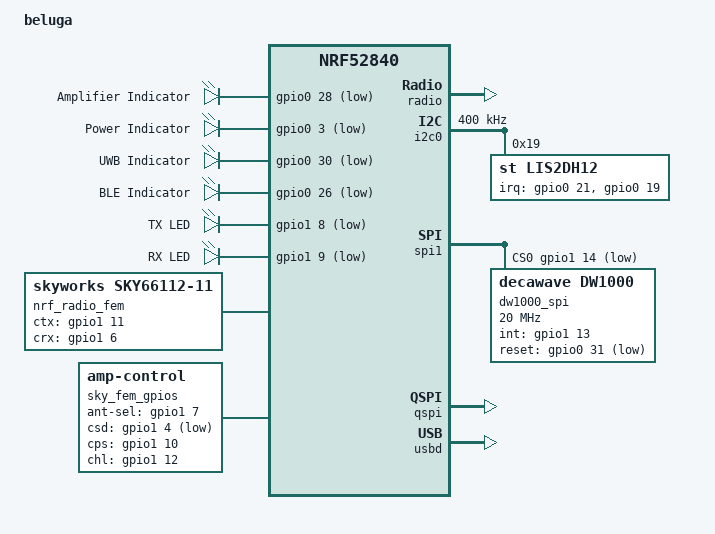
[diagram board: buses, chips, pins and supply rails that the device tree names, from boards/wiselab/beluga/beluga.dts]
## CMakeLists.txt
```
#
# Copyright (c) 2021 Nordic Semiconductor ASA
#
# SPDX-License-Identifier: LicenseRef-Nordic-5-Clause
#
cmake_minimum_required(VERSION 3.20.0)
find_package(Zephyr REQUIRED HINTS $ENV{ZEPHYR_BASE})
project(Beluga)

# NORDIC SDK APP START
file(GLOB SOURCE "src/*.c")
set(SERIAL_SRC
        src/serial/comms.c
        src/serial/comms_uart.c)
set(SERVICE_SRC
        src/ble/services/beluga_service.c
        src/ble/services/beluga_client.c
        src/ble/services/beluga_service_common.c)
set(BLE_SRC
        src/ble/adv.c
        src/ble/scan.c
        src/ble/ble_app.c)
file(GLOB DECAWAVE_SRC "DecaDriver/src/*.c")

include_directories(include DecaDriver/include)

target_sources(app PRIVATE
    ${SOURCE}
    ${SERIAL_SRC}
    ${DECAWAVE_SRC}
    ${SERVICE_SRC}
    ${BLE_SRC}
)
target_sources_ifdef(CONFIG_MCUMGR_TRANSPORT_COMMS app PRIVATE
        src/serial/smp_comms.c
        src/serial/serial_util.c
)
# NORDIC SDK APP END
```

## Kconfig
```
mainmenu "Beluga application"

menu "Beluga Configurations"

rsource "./config/kconfig/Kconfig.beluga_threads"

rsource "./config/kconfig/Kconfig.uwb"

rsource "./config/kconfig/Kconfig.neighbors"

rsource "./config/kconfig/Kconfig.watchdog"

config BELUGA_BOARD_HW_ID
    int "Hardware ID of the Board"
    default 0

choice "BELUGA_LED_INDICATOR_CHOICE"
    prompt "LEDs are used to indicate states for"
    default BELUGA_LEDS

config BELUGA_BLE_LEDS
    bool "BLE states"

config BELUGA_LEDS
    bool "Beluga states"

endchoice

config BELUGA_RANGE_EXTENSION
    bool "Enable range extension for Beluga"
    default n

config BELUGA_USE_ACCEL
    bool "Use the accelerometer to wakeup from deep sleep [EXPERIMENTAL]"
    select SENSOR
    select EXPERIMENTAL
    default n

config UWB_LOGIC_CLK
    bool "UWB ranging exchange IDs"
    default n

config BELUGA_GATT
    bool "Beluga GATT service"
    default n

config STATUS_BLINK_PERIOD
    int "Period that the status LED blinks at in msec"
    default 1000
    range 0 10000
    help
        The period that the status LED blinks at. It
        is recommended that the period is kept to 1000 msec.
        If the period is set to 0, the LED will stay solid.

rsource "./config/kconfig/Kconfig.beluga_debug"

config WDT_MAX_WINDOW
    int "Maximum window of the watchdog timer"
    default 2000

rsource "./config/kconfig/Kconfig.comms"

endmenu # "Beluga Configurations"

source "Kconfig.zephyr"
```

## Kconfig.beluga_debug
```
menu "Beluga Debugging"

comment "You can turn on the Kernel Logging Subsystem from \"Subsystems and OS Services->Logging->Logging\""

rsource "./Kconfig.logging"

config DEBUG_BELUGA_CLOCK
    bool "Debug oscillating crystals"
    default n

config BELUGA_RESET_REASON
    bool "Print the reset reason"
    select HWINFO
    default n

config BELUGA_EVAL_BLE_STRENGTH
    bool "Evaluate the signal strength of BLE regardless if UWB is on or not"
    default n

endmenu
```

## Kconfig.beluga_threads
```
menu "Thread Configurations"
menuconfig ENABLE_BELUGA_THREADS
    bool "Enable threads for Beluga"
    default y

if ENABLE_BELUGA_THREADS

menuconfig ENABLE_COMMANDS
    bool "Enable commands for Beluga"
    default n

if ENABLE_COMMANDS

config BELUGA_COMMANDS_PRIO
    int "Priority for commands thread"
    depends on ENABLE_COMMANDS
    default 8

config COMMANDS_STACK_SIZE
    int "Stack size (bytes) for commands thread"
    depends on ENABLE_COMMANDS
    default 1024
endif

menuconfig ENABLE_LIST
    bool "Enable the list thread for Beluga"
    default n

if ENABLE_LIST
config BELUGA_LIST_PRIO
    int "Priority for list thread"
    depends on ENABLE_LIST
    default 8

config LIST_STACK_SIZE
    int "Stack size (bytes) for list thread"
    depends on ENABLE_LIST
    default 1024
endif

menuconfig ENABLE_RANGING
    bool "Enable the ranging thread for Beluga"
    default n

if ENABLE_RANGING
config BELUGA_RANGING_PRIO
    int "Priority for ranging thread"
    depends on ENABLE_RANGING
    default 8

config RANGING_STACK_SIZE
    int "Stack size (bytes) for ranging thread"
    depends on ENABLE_RANGING
    default 1024
endif

menuconfig ENABLE_MONITOR
    bool "Enable the monitor thread in Beluga"
    default n

if ENABLE_MONITOR
config BELUGA_MONITOR_PRIO
    int "Priority for monitor thread"
    depends on ENABLE_MONITOR
    default 8

config MONITOR_STACK_SIZE
    int "Stack size (bytes) for monitor task"
    depends on ENABLE_MONITOR
    default 1024
endif

menuconfig ENABLE_RESPONDER
    bool "Enable the responder thread in Beluga"
    default n

if ENABLE_RESPONDER
config BELUGA_RESPONDER_PRIO
    int "Priority for responder thread"
    depends on ENABLE_RESPONDER
    default 7

config RESPONDER_STACK_SIZE
    int "Stack size (bytes) for responder task"
    depends on ENABLE_RESPONDER
    default 1024
endif
endif
endmenu
```

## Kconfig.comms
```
menuconfig MCUMGR_TRANSPORT_COMMS
	bool "Comms mcumgr SMP transport"
	depends on BASE64
	depends on CRC
	help
	  Enables handling of SMP commands received over uart.  This allows
	  for user data to be received while mcumgr commands are enabled.

if MCUMGR_TRANSPORT_COMMS

config MCUMGR_TRANSPORT_COMMS_MTU
	int "Shell comms MTU"
	default 256
	help
	  Maximum size of SMP frames sent and received over shell.  This value
	  must satisfy the following relation:
	  MCUMGR_TRANSPORT_SHELL_MTU <= MCUMGR_TRANSPORT_NETBUF_SIZE + 2

config MCUMGR_TRANSPORT_COMMS_RX_BUF_COUNT
	int "Shell SMP RX buffer count"
	default 2
	help
	  Number of buffers used for receiving SMP fragments over shell.

config MCUMGR_TRANSPORT_COMMS_INPUT_TIMEOUT
	bool "Shell input expiration"
	help
	  If enabled, will time out a partial or erroneous MCUmgr command
	  received via the shell transport after a given time. This prevents
	  the shell from becoming locked if it never receives the full packet
	  that a header indicated it would receive.

config MCUMGR_TRANSPORT_COMMS_INPUT_TIMEOUT_TIME
	int "Shell input expiration timeout"
	depends on MCUMGR_TRANSPORT_SHELL_INPUT_TIMEOUT
	default 3000
	help
	  Time (in msec) after receiving a valid MCUmgr header on the serial
	  transport before considering it as timed out and returning the shell
	  to normal operation.

endif # MCUMGR_TRANSPORT_COMMS

menuconfig COMMS_BACKENDS
    bool "Comms backends"
    default y
    help
        Enable comms backends.

if COMMS_BACKENDS

config COMMS_BACKEND_SERIAL
    bool "Serial backend"
    default y
    select SERIAL
    select RING_BUFFER
    help
        Enable serial backend

if COMMS_BACKEND_SERIAL

config COMMS_BACKEND_SERIAL_INIT_PRIORITY
    int "Initialization priority"
    default 90
    range 0 99
    help
        Initialization priority for UART backend. This must be bigger than
    	the initialization priority of the used serial device.

config COMMS_BACKEND_SERIAL_INTERRUPT_DRIVEN
	bool "Interrupt driven"
	default y
	depends on SERIAL_SUPPORT_INTERRUPT

config COMMS_ASYNC_API
	bool "Asynchronous comms API"
	default n
	depends on UART_ASYNC_API
	help
	  This option enables asynchronous comms API.

choice COMMS_BACKEND_SERIAL_API
	prompt "Mode"
	default COMMS_BACKEND_SERIAL_API_ASYNC if COMMS_ASYNC_API
	default COMMS_BACKEND_SERIAL_API_INTERRUPT_DRIVEN if COMMS_BACKEND_SERIAL_INTERRUPT_DRIVEN
	default COMMS_BACKEND_SERIAL_API_POLLING

config COMMS_BACKEND_SERIAL_API_POLLING
	prompt "Polling"

config COMMS_BACKEND_SERIAL_API_INTERRUPT_DRIVEN
	bool "Interrupt driven"
	depends on SERIAL_SUPPORT_INTERRUPT
	select UART_INTERRUPT_DRIVEN


config COMMS_BACKEND_SERIAL_API_ASYNC
	bool "Asynchronous"
	depends on SERIAL_SUPPORT_ASYNC
	select UART_ASYNC_RX_HELPER

endchoice

config COMMS_BACKEND_SERIAL_FORCE_TX_BLOCKING_MODE
	bool "Force blocking mode for TX"
	help
	  Force blocking mode for TX.

config COMMS_BACKEND_SERIAL_TX_RING_BUFFER_SIZE
	int "Set TX ring buffer size"
	default 8
	depends on COMMS_BACKEND_SERIAL_API_INTERRUPT_DRIVEN
	help
	  If UART is utilizing DMA transfers then increasing ring buffer size
	  increases transfers length and reduces number of interrupts.

config COMMS_BACKEND_SERIAL_RX_RING_BUFFER_SIZE
	int "Set RX ring buffer size"
	depends on COMMS_BACKEND_SERIAL_API_INTERRUPT_DRIVEN || COMMS_BACKEND_SERIAL_API_POLLING
	default 256 if MCUMGR_TRANSPORT_COMMS
	default 64
	help
	  RX ring buffer size impacts accepted latency of handling incoming
	  bytes by shell. If shell input is coming from the keyboard then it is
	  usually enough if ring buffer is few bytes (more than one due to
	  escape sequences). However, if bulk data is transferred it may be
	  required to increase it.

if COMMS_BACKEND_SERIAL_API_ASYNC

config COMMS_BACKEND_SERIAL_ASYNC_RX_TIMEOUT
	int "RX inactivity timeout (in microseconds)"
	default 10000
	help
	  Inactivity timeout after which received data is reported.

config COMMS_BACKEND_SERIAL_ASYNC_RX_BUFFER_COUNT
	int "Number of RX buffers"
	default 4
	range 2 64
	help
	  Number of RX buffers. Some UART driver implementations changes buffers
	  on timeout so this number should be big enough to cover handling on
	  time incoming data. 4 should be enough for almost all the cases unless
	  CPU load is high and there is very high shell thread latency.

config COMMS_BACKEND_SERIAL_ASYNC_RX_BUFFER_SIZE
	int "Size of the RX buffer"
	default 16
	help
	  Size of a single RX buffer. Together with buffer count it defines the
	  space that can hold RX data. It may be decreased if shell input is
	  slow and may need to be increased if long messages are pasted directly
	  to the shell prompt.

endif # COMMS_BACKEND_SERIAL_API_ASYNC

config COMMS_BACKEND_SERIAL_RX_POLL_PERIOD
	int "RX polling period (in milliseconds)"
	default 10
	depends on COMMS_BACKEND_SERIAL_API_POLLING
	help
	  Determines how often UART is polled for RX byte.

config COMMS_BACKEND_SERIAL_CHECK_DTR
	bool "Check DTR signal before TX"
	depends on COMMS_BACKEND_SERIAL_API_INTERRUPT_DRIVEN
	depends on UART_LINE_CTRL
	help
	  Check DTR signal before TX.

endif # COMMS_BACKEND_SERIAL

endif # COMMS_BACKENDS

config COMMS_MAX_TOKENS
    int "Maximum argument tokens"
    default 20

config COMMS_RTX_BUF_SIZE
    int "Transmit and Receive Buffer Sizes"
    default 256
```

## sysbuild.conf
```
SB_CONFIG_BOOTLOADER_MCUBOOT=y
SB_CONFIG_MCUBOOT_MODE_SINGLE_APP=n

# External flash
# SB_CONFIG_PM_EXTERNAL_FLASH_MCUBOOT_SECONDARY=y

# Image signing
# SB_CONFIG_BOOT_SIGNATURE_KEY_FILE="\${APP_DIR}/keys/private_key.pem"
# Uncomment based on what key generation algorithm was used:
# ecdsa-p256
# SB_CONFIG_BOOT_SIGNATURE_TYPE_ECDSA_P256=y
# rsa-2048 and rsa-3072
# SB_CONFIG_BOOT_SIGNATURE_TYPE_RSA=y
# ed25519
# SB_CONFIG_BOOT_SIGNATURE_TYPE_ED25519=y
```

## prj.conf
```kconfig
#
# Copyright (c) 2021 Nordic Semiconductor ASA
#
# SPDX-License-Identifier: LicenseRef-Nordic-5-Clause
#

# Bluetooth related stuff
CONFIG_BT=y
CONFIG_BT_PERIPHERAL=y
CONFIG_BT_CENTRAL=y
CONFIG_BT_DEVICE_NAME="Beluga"
CONFIG_BT_DEVICE_NAME_DYNAMIC=y

CONFIG_BT_SCAN=y
CONFIG_BT_SCAN_FILTER_ENABLE=y
CONFIG_BT_SCAN_UUID_CNT=1

CONFIG_BT_EXT_ADV=y
CONFIG_BT_EXT_ADV_MAX_ADV_SET=2

CONFIG_BT_GATT_CLIENT=y
CONFIG_BT_GATT_DM=y

CONFIG_BT_RX_STACK_SIZE=2048

# BLE Work Queues (These should be higher prio or equal to the Beluga stuff)
# GATT discovery
CONFIG_BT_GATT_DM_WORKQ_PRIO=6
# Long running BLE work (If any, will run during the response slot)
CONFIG_BT_LONG_WQ_PRIO=8

# Settings
CONFIG_FLASH=y
CONFIG_FLASH_PAGE_LAYOUT=y
CONFIG_FLASH_MAP=y
CONFIG_NVS=y
CONFIG_SETTINGS=y
CONFIG_SETTINGS_RUNTIME=y

# Memory configs
CONFIG_HEAP_MEM_POOL_SIZE=1024
CONFIG_MAIN_STACK_SIZE=2048
CONFIG_MPSL_WORK_STACK_SIZE=2048

# Peripherals
CONFIG_DK_LIBRARY=y
CONFIG_REBOOT=y
CONFIG_GPIO=y
CONFIG_SPI=y
CONFIG_I2C=y
CONFIG_PM_DEVICE=y
CONFIG_POWEROFF=y

# UART driver
CONFIG_UART_INTERRUPT_DRIVEN=y
CONFIG_SERIAL=y
CONFIG_CONSOLE=n
CONFIG_UART_CONSOLE=n

# Config logger
CONFIG_USE_SEGGER_RTT=n
CONFIG_LOG_BACKEND_UART=n
CONFIG_LOG_MODE_IMMEDIATE=y
CONFIG_LOG_PRINTK=y
CONFIG_BOOT_BANNER=n
CONFIG_NCS_BOOT_BANNER=n

# Floating point support
CONFIG_NEWLIB_LIBC=y
CONFIG_NEWLIB_LIBC_FLOAT_PRINTF=y
CONFIG_NEWLIB_LIBC_NANO=n

# Custom Beluga Settings
CONFIG_BELUGA_LEDS=y
CONFIG_UWB_LOGIC_CLK=y
CONFIG_JSON_LIBRARY=y

# Watchdog timer
CONFIG_WDT_DISABLE_AT_BOOT=n
CONFIG_SW_WDT_CHANNELS=4
CONFIG_SW_WDT_HW_FALLBACK=y
CONFIG_SW_WDT_HW_FALLBACK_DELAY=1000
CONFIG_WDT_TEST_COMMAND=y

# FEM options
CONFIG_CLOCK_CONTROL_NRF_K32SRC_XTAL=y
CONFIG_CLOCK_CONTROL_NRF_K32SRC_50PPM=y

# Debugging
CONFIG_ASSERT=y
CONFIG_CORTEX_M_DEBUG_MONITOR_HOOK=n
CONFIG_DEBUG_THREAD_INFO=n
CONFIG_SEGGER_DEBUGMON=n
CONFIG_BT_HCI_ERR_TO_STR=n
CONFIG_DEBUG_COREDUMP=n
CONFIG_DEBUG_COREDUMP_BACKEND_LOGGING=n

# Beluga specific debugging
CONFIG_BELUGA_RESET_REASON=y

# Scheduler configurations
CONFIG_TIMESLICING=n
CONFIG_SCHED_DUMB=y

CONFIG_LOG=n
CONFIG_BELUGA_DEBUG_LOG_LEVEL_DBG=n
CONFIG_WATCHDOG_MODULE_LOG_LEVEL_DBG=n
CONFIG_RANGING_MODULE_LOG_LEVEL_DBG=n
CONFIG_BELUGA_MAIN_LOG_LEVEL_INF=n
CONFIG_BLE_APP_LOG_LEVEL_DBG=n
CONFIG_BT_GATT_DM_LOG_LEVEL_DBG=n
CONFIG_BT_CONN_LOG_LEVEL_DBG=n
CONFIG_BT_HCI_CORE_LOG_LEVEL_INF=n
CONFIG_LOG_DEFAULT_LEVEL=0

CONFIG_RANGE_TO_ACTIVE_ONLY=y
```

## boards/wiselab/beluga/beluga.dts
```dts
/dts-v1/;
#include <nordic/nrf52840_qiaa.dtsi>
#include "beluga-pinctrl.dtsi"

/ {
	model = "beluga";
	compatible = "WiseLab,beluga";

	chosen {
		zephyr,console = &cdc_acm_uart0;
		zephyr,shell-uart = &cdc_acm_uart0;
		zephyr,uart-mcumgr = &cdc_acm_uart0;
		zephyr,bt-mon-uart = &cdc_acm_uart0;
		zephyr,bt-c2h-uart = &cdc_acm_uart0;
		zephyr,sram = &sram0;
		zephyr,flash = &flash0;
		zephyr,code-partition = &slot0_partition;
	};

	leds {
		compatible = "gpio-leds";
		led0: led_0 {
			gpios = <&gpio0 28 GPIO_ACTIVE_LOW>;
			label = "Amplifier Indicator";
		};
		led1: led_1 {
			gpios = <&gpio0 3 GPIO_ACTIVE_LOW>;
			label = "Power Indicator";
		};
		led2: led_2 {
			gpios = <&gpio0 30 GPIO_ACTIVE_LOW>;
			label = "UWB Indicator";
		};
		led3: led_3 {
			gpios = <&gpio0 26 GPIO_ACTIVE_LOW>;
			label = "BLE Indicator";
		};
	};

	serial_leds {
		compatible = "gpio-leds";
		tx_led: tx_led0 {
			gpios = <&gpio1 8 GPIO_ACTIVE_LOW>;
			label = "TX LED";
		};
		rx_led: rx_led0 {
			gpios = <&gpio1 9 GPIO_ACTIVE_LOW>;
			label = "RX LED";
		};
	};

	aliases {
		led0 = &led0;
		led1 = &led1;
		led2 = &led2;
		led3 = &led3;
		bootloader-led0 = &led0;
		watchdog = &wdt0;
		spi-flash0 = &mx25r64;
	};

	nrf_radio_fem: sky66112-11 {
		compatible = "skyworks,sky66112-11", "generic-fem-two-ctrl-pins";
		ctx-gpios = <&gpio1 11 0>;
		crx-gpios = <&gpio1 6 0>;
		tx-gain-db = <22>;
	};

	sky_fem_gpios: amp_control {
		compatible = "amp-control";
		ant-sel-gpios = <&gpio1 7 0>;
		csd-gpios = <&gpio1 4 GPIO_ACTIVE_LOW>;
		cps-gpios = <&gpio1 10 GPIO_ACTIVE_HIGH>;
		chl-gpios = <&gpio1 12 0>;
	};
};

&radio {
	fem = <&nrf_radio_fem>;
};

&uicr {
	gpio-as-nreset;
};

&gpiote {
	status = "okay";
};

&gpio0 {
	status = "okay";
	gpio-reserved-ranges = <0 2>, <4 7>, <18 1>, <27 1>;
	gpio-line-names = "XL1", "XL2", "SPI1 MISO", "PWR Indicator", "QSPI CS",
					  "QSPI DIO3", "QSPI DIO1", "QSPI DIO0", "QSPI DIO2", "",
					  "", "P0.11", "P0.12", "P0.13", "ACCEL SDO", "P0.15",
					  "ACCEL SDA/SDI", "P0.17", "RESET", "ACCEL INT2", "P0.20",
					  "ACCEL INT1", "P0.22", "ACCEL CLK", "P0.24", "P0.25",
					  "BLE Indicator", "QSPI CLK", "Amplifier Indicator", "SPI1 MOSI",
					  "UWB Indicator", "DW RESET";
};

&gpio1 {
	status = "okay";
	gpio-line-names = "VDD ADJ", "P1.01", "ACCEL CS", "P1.03", "CSD", "P1.05", "CRX",
					  "ANT SEL", "TXLED", "RXLED", "CPS", "CTX", "CHL", "DW IRQ", "DW CS",
					  "SPI1 CLK";
};

&i2c0 {
	compatible = "nordic,nrf-twi";
	status = "okay";
	pinctrl-0 = <&i2c0_default>;
	pinctrl-1 = <&i2c0_sleep>;
	pinctrl-names = "default", "sleep";

	clock-frequency = <I2C_BITRATE_FAST>;
	lis2dh12: lis2dh12@19 {
		compatible = "st,lis2dh12", "st,lis2dh";
		reg = <0x19>;
		irq-gpios = <&gpio0 21 GPIO_ACTIVE_HIGH>,
					<&gpio0 19 GPIO_ACTIVE_HIGH>;
	};
};

&spi1 {
	compatible = "nordic,nrf-spi";
	status = "okay";
	cs-gpios = <&gpio1 14 (GPIO_PULL_UP | GPIO_ACTIVE_LOW)>;
	pinctrl-0 = <&spi1_default>;
	pinctrl-1 = <&spi1_sleep>;
	pinctrl-names = "default", "sleep";
	dw1000_spi: dw1000@0 {
		compatible = "decawave,dw1000";
		spi-max-frequency = <DT_FREQ_M(20)>;
		int-gpios = <&gpio1 13 GPIO_ACTIVE_HIGH>;
		reset-gpios = <&gpio0 31 GPIO_ACTIVE_LOW>;
		status = "okay";
		reg = <0x0>;
	};
};

&qspi {
	status = "okay";
	pinctrl-0 = <&qspi_default>;
	pinctrl-1 = <&qspi_sleep>;
	pinctrl-names = "default", "sleep";
	mx25r64: mx25r6435f@0 {
		status = "disabled";
		compatible = "nordic,qspi-nor";
		reg = <0>;
		/* MX25R64 supports only pp and pp4io */
		writeoc = "pp4io";
		/* MX25R64 supports all readoc options */
		readoc = "read4io";
		sck-frequency = <8000000>;
		jedec-id = [c2 28 17];
		sfdp-bfp = [
						   e5 20 f1 ff  ff ff ff 03  44 eb 08 6b  08 3b 04 bb
						   ee ff ff ff  ff ff 00 ff  ff ff 00 ff  0c 20 0f 52
						   10 d8 00 ff  23 72 f5 00  82 ed 04 cc  44 83 68 44
						   30 b0 30 b0  f7 c4 d5 5c  00 be 29 ff  f0 d0 ff ff
				   ];
		size = <67108864>;
		has-dpd;
		t-enter-dpd = <10000>;
		t-exit-dpd = <35000>;
	};
};

&uart0 {
	compatible = "nordic,nrf-uarte";
	status = "disabled";
	current-speed = <115200>;
	pinctrl-0 = <&uart0_default>;
	pinctrl-1 = <&uart0_sleep>;
	pinctrl-names = "default", "sleep";
};

&flash0 {
	partitions {
		compatible = "fixed-partitions";
		#address-cells = <1>;
		#size-cells = <1>;

		boot_partition: partition@0 {
			label = "mcuboot";
			reg = <0x00000000 DT_SIZE_K(48)>;
		};

		slot0_partition: partition@c000 {
			label = "image-0";
			reg = <0x0000c000 DT_SIZE_K(472)>;
		};

		slot1_partition: partition@82000 {
			label = "image-1";
			reg = <0x00082000 DT_SIZE_K(472)>;
		};

		/*
		 * The flash starting at 0x000f8000 and ending at
		 * 0x000fffff is reserved for use by the application.
		 */

		/*
		 * Storage partition will be used by FCB/LittleFS/NVS
		 * if enabled.
		 */
		storage_partition: partition@f8000 {
			label = "storage";
			reg = <0x000f8000 DT_SIZE_K(32)>;
		};
	};
};

zephyr_udc0: &usbd {
	compatible = "nordic,nrf-usbd";
	status = "okay";

	cdc_acm_uart0: cdc_acm_uart0 {
		compatible = "zephyr,cdc-acm-uart";
	};
};
```

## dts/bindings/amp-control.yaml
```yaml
description: GPIO pin configurations to control the SKY6112-11 FEM

compatible: "amp-control"

properties:
  ant-sel-gpios:
    type: phandle-array
    required: false
    description: |
      The GPIO controlling the antenna select

  csd-gpios:
    type: phandle-array
    required: true
    description: |
      Shuts down the FEM when low

  cps-gpios:
    type: phandle-array
    required: false
    description: |
      Bypass the amplifier and the LNA

  chl-gpios:
    type: phandle-array
    required: false
    description: |
      Transmit high power
```

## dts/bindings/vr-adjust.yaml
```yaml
description: GPIO pin to adjust the voltage regulator output

compatible: "vr-adjust"

properties:
  gpios:
    type: phandle-array
    required: true
    description: |
      The GPIO controlling the output of the voltage regulator.
```

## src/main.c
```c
/**
 * @file main.c
 * @brief Main application
 *
 * @date 6/19/2024
 * @author Tom Schmitz
 */

#include <beluga_message.h>
#include <serial/comms.h>

#include <app_leds.h>
#include <app_version.h>
#include <ble/ble_app.h>
#include <debug.h>
#include <initiator.h>
#include <led_config.h>
#include <list_monitor.h>
#include <list_neighbors.h>
#include <range_extension.h>
#include <ranging.h>
#include <responder.h>
#include <settings.h>
#include <spi.h>
#include <stdio.h>
#include <unistd.h>
#include <utils.h>
#include <voltage_regulator.h>
#include <watchdog.h>
#include <zephyr/kernel.h>
#include <zephyr/logging/log.h>

/**
 * Logger for main
 */
LOG_MODULE_REGISTER(beluga_main, CONFIG_BELUGA_MAIN_LOG_LEVEL);

/**
 * Prints the settings header if not in frame mode
 *
 * @param[in] _comms Pointer to the comms instance
 */
#define SETTINGS_HEADER(_comms)                                                \
    do {                                                                       \
        if ((_comms)->ctx->format != FORMAT_FRAMES) {                          \
            struct beluga_msg msg = {.type = START_EVENT,                      \
                                     .payload.node_version =                   \
                                         "Node On: " APP_VERSION_STRING};      \
            comms_write_msg(_comms, &msg);                                     \
        }                                                                      \
    } while (0)

/**
 * Prints a formatted settings string
 *
 * @param[in] _comms Pointer to the comms instance
 * @param[in] _str The format string
 * @param[in] ... List of parameters to print
 */
#define _SETTINGS_PRINT_FMT(_comms, _str, ...)                                 \
    do {                                                                       \
        struct beluga_msg msg = {.type = START_EVENT};                         \
        char s[256];                                                           \
        snprintf(s, sizeof(s) - 1, "  " _str, __VA_ARGS__);                    \
        msg.payload.node_version = s;                                          \
        comms_write_msg(_comms, &msg);                                         \
    } while (0)

/**
 * Prints a setting
 *
 * @param[in] _comms Pointer to the comms instance
 * @param[in] _str The settings string
 */
#define __SETTINGS_PRINT(_comms, _str)                                         \
    do {                                                                       \
        struct beluga_msg msg = {.type = START_EVENT,                          \
                                 .payload.node_version = ("  " _str)};         \
        comms_write_msg(_comms, &msg);                                         \
    } while (0)

/**
 * Prints a setting
 *
 * @param[in] _comms Pointer to the comms instance
 * @param[in] _str The setting string to print
 * @param[in] ... Optional list of arguments to print
 */
#define _SETTINGS_PRINT(_comms, _str, ...)                                     \
    COND_CODE_1(IS_EMPTY(__VA_ARGS__), (__SETTINGS_PRINT(_comms, _str)),       \
                (_SETTINGS_PRINT_FMT(_comms, _str, __VA_ARGS__)))

/**
 * Prints a setting if not in frame mode
 *
 * @param[in] _comms Pointer to the comms instance
 * @param[in] _str The setting string to print
 * @param[in] ... Optional list of arguments to print
 */
#define SETTINGS_PRINT(_comms, _str, ...)                                      \
    do {                                                                       \
        if ((_comms)->ctx->format != FORMAT_FRAMES) {                          \
            _SETTINGS_PRINT(_comms, _str, __VA_ARGS__);                        \
        }                                                                      \
    } while (0)

/**
 * Print the node version if in framed mode, otherwise, prints a line break
 * if not in framed mode.
 *
 * @param[in] _comms Pointer to the comms instance
 */
#define SETTINGS_BREAK(_comms)                                                 \
    do {                                                                       \
        if ((_comms)->ctx->format == FORMAT_FRAMES) {                          \
            struct beluga_msg msg = {.type = START_EVENT,                      \
                                     .payload.node_version =                   \
                                         APP_VERSION_STRING};                  \
            comms_write_msg(_comms, &msg);                                     \
        } else {                                                               \
            struct beluga_msg msg = {.type = START_EVENT,                      \
                                     .payload.node_version = "\n"};            \
            comms_write_msg(_comms, &msg);                                     \
        }                                                                      \
    } while (0)

/**
 * Runs a custom print setting routine with arguments
 *
 * @param[in] _comms Pointer to the comms instance
 * @param[in] callback The custom print setting routine to run
 * @param[in] ... Argument list
 */
#define _CUSTOM_INIT_MSG_ARGS(_comms, callback, ...)                           \
    callback(_comms, __VA_ARGS__)

/**
 * Runs a custom print setting routine without arguments
 *
 * @param[in] _comms Pointer to the comms instance
 * @param[in] callback The custom print setting routine to run
 */
#define _CUSTOM_INIT_MSG_NOARGS(_comms, callback) callback(_comms)

/**
 * Runs a custom print setting routine
 *
 * @param[in] _comms Pointer to the comms instance
 * @param[in] callback The custom print setting routine to run
 * @param[in] ... Additional arguments for the routine
 */
#define _CUSTOM_INIT_MSG(_comms, callback, ...)                                \
    COND_CODE_1(IS_EMPTY(__VA_ARGS__),                                         \
                (_CUSTOM_INIT_MSG_NOARGS(_comms, callback)),                   \
                (_CUSTOM_INIT_MSG_ARGS(_comms, callback, __VA_ARGS__)))

/**
 * Runs a custom print setting routine if not in framed mode
 *
 * @param[in] _comms Pointer to the comms instance
 * @param[in] callback The custom print setting routine to run
 * @param[in] ... Additional arguments for the routine
 */
#define CUSTOM_INIT_MSG(_comms, callback, ...)                                 \
    do {                                                                       \
        if ((_comms)->ctx->format != FORMAT_FRAMES) {                          \
            _CUSTOM_INIT_MSG(_comms, callback, __VA_ARGS__);                   \
        }                                                                      \
    } while (0)

#if CONFIG_STATUS_BLINK_PERIOD != 0
/**
 * Work handler for blinking the status (Power) LED.
 * @param[in] work Pointer to the work item.
 */
static void blink_status_led(struct k_work *work) {
    struct k_work_delayable *dwork =
        CONTAINER_OF(work, struct k_work_delayable, work);
    static enum led_state state = LED_ON;
    static uint32_t error_blink = 0;
    k_timeout_t schedule_period = K_MSEC(CONFIG_STATUS_BLINK_PERIOD);
    const struct comms *comms = comms_backend_uart_get_ptr();

    if (comms_check_rx_error(comms)) {
        if ((state == LED_ON && error_blink == 0) ||
            (state == LED_OFF && error_blink == 1)) {
            schedule_period = K_MSEC(200);
            error_blink++;
        } else {
            error_blink = 0;
        }
    }

    update_led_state(LED_POWER, state);
    state = (state == LED_ON) ? LED_OFF : LED_ON;

    k_work_schedule(dwork, schedule_period);
}
K_WORK_DELAYABLE_DEFINE(blink_work, blink_status_led);
#endif // CONFIG_STATUS_BLINK_PERIOD != 0

/**
 * Load the LED mode from the settings and display the current state
 */
static void load_led_mode(const struct comms *comms) {
    int32_t led_mode = retrieveSetting(BELUGA_LEDMODE);

    if (led_mode == 1) {
        all_leds_off();
    }
#if CONFIG_STATUS_BLINK_PERIOD != 0
    k_work_schedule(&blink_work, K_NO_WAIT);
#else
    update_led_state(LED_POWER, LED_ON);
#endif // CONFIG_STATUS_BLINK_PERIOD != 0
    SETTINGS_PRINT(comms, "LED Mode: %d", led_mode);
}

/**
 * Load the node ID from settings and display it
 */
static void load_id(const struct comms *comms) {
    int32_t nodeID = retrieveSetting(BELUGA_ID);

    if (nodeID != DEFAULT_ID_SETTING) {
        update_node_id((uint16_t)nodeID);
        set_initiator_id((uint16_t)nodeID);
        set_responder_id((uint16_t)nodeID);
        SETTINGS_PRINT(comms, "Node ID: %d", nodeID);
    } else {
        SETTINGS_PRINT(comms, "!!!!!!!!!!!!!!!!!!!!!!!!!!!!!!!");
        SETTINGS_PRINT(comms, "!Warning! Please setup node ID!");
        SETTINGS_PRINT(comms, "!!!!!!!!!!!!!!!!!!!!!!!!!!!!!!!");
    }
}

/**
 * Load the mode the node should boot in, update the states for the node, and
 * display the boot mode
 */
static void load_bootmode(const struct comms *comms) {
    int32_t bootMode = retrieveSetting(BELUGA_BOOTMODE);

    switch (bootMode) {
    case 1:
        k_sem_give(&print_list_sem);
        enable_bluetooth();
        update_led_state(LED_BLE, LED_ON);
        break;
    case 2:
        k_sem_give(&print_list_sem);
        enable_bluetooth();
        update_led_state(LED_BLE, LED_ON);
        update_uwb_state(true);
    case 0:
        break;
    default:
        SETTINGS_PRINT(comms, "Boot Mode: Unknown");
        break;
    }
    SETTINGS_PRINT(comms, "Boot Mode: %d", bootMode);
}

/**
 * Retrieve the polling rate, set it, and display what it is
 */
static void load_poll_rate(const struct comms *comms) {
    int32_t rate = retrieveSetting(BELUGA_POLL_RATE);

    // Account for new versions of the FW
    if (rate > (int32_t)CONFIG_MAX_POLLING_RATE) {
        rate = CONFIG_MAX_POLLING_RATE;
        updateSetting(BELUGA_POLL_RATE, rate);
    }

    set_rate(rate);
    SETTINGS_PRINT(comms, "UWB Polling Rate: %d", rate);
}

/**
 * Retrieve the UWB channel, set it, and display what it is
 */
static void load_channel(const struct comms *comms) {
    int32_t channel = retrieveSetting(BELUGA_UWB_CHANNEL);
    set_uwb_channel(channel);
    SETTINGS_PRINT(comms, "UWB Channel: %d", channel);
}

/**
 * Retrieve the node timeout, set it, and display what it is
 */
static void load_timeout(const struct comms *comms) {
    int32_t timeout = retrieveSetting(BELUGA_BLE_TIMEOUT);
    set_node_timeout(timeout);
    SETTINGS_PRINT(comms, "BLE Timeout: %d", timeout);
}

/**
 * Retrieve the UWB TX power, set it, and display what it is
 */
static void load_tx_power(const struct comms *comms) {
    int32_t tx_power = retrieveSetting(BELUGA_TX_POWER);
    struct uwb_tx_power_config config = {
        .mode = UWB_TX_PWR_CONFIG_RAW,
        .raw_power = tx_power,
    };

    set_tx_power(&config);
    CUSTOM_INIT_MSG(comms, print_tx_power, (uint32_t)tx_power);
}

/**
 * Retrieve the neighbor streaming mode, set it, and display the current mode
 */
static void load_stream_mode(const struct comms *comms) {
    int32_t stream_mode = retrieveSetting(BELUGA_STREAMMODE);
    set_stream_mode(stream_mode != 0);
    SETTINGS_PRINT(comms, "Stream Mode: %d", stream_mode);
}

/**
 * Retrieve the two-way ranging mode, set it, and display what it is
 */
static void load_twr_mode(const struct comms *comms) {
    int32_t twr = retrieveSetting(BELUGA_TWR);
    set_twr_mode(twr != 0);
    SETTINGS_PRINT(comms, "Ranging Mode: %d", twr);
}

/**
 * Retrieve the output format mode, set it, and display what it is
 */
static void load_out_format(const struct comms *comms) {
    CUSTOM_INIT_MSG(comms, print_format);
}

/**
 * Retrieve the UWB PHR mode, set it, and display what it is
 */
static void load_phr_mode(const struct comms *comms) {
    int32_t mode = retrieveSetting(BELUGA_UWB_PHR);
    SETTINGS_PRINT(comms, "UWB PHR Mode: %" PRId32, mode);
    uwb_set_phr_mode((enum uwb_phr_mode)mode);
}

/**
 * Retrieve the UWB data rate, set it, and display what it is
 */
static void load_data_rate(const struct comms *comms) {
    enum uwb_datarate rate =
        (enum uwb_datarate)retrieveSetting(BELUGA_UWB_DATA_RATE);
    CUSTOM_INIT_MSG(comms, rate = print_uwb_datarate, rate);
    uwb_set_datarate(rate);
}

/**
 * Retrieve the UWB pulse repetition rate, set it, and display what it is
 */
static void load_pulse_rate(const struct comms *comms) {
    enum uwb_pulse_rate rate =
        (enum uwb_pulse_rate)retrieveSetting(BELUGA_UWB_PULSE_RATE);
    CUSTOM_INIT_MSG(comms, rate = print_pulse_rate, rate);
    uwb_set_pulse_rate((enum uwb_pulse_rate)rate);
}

/**
 * Retrieve the UWB preamble length, set it, and display what it is
 */
static void load_preamble_length(const struct comms *comms) {
    int32_t length = retrieveSetting(BELUGA_UWB_PREAMBLE);
    SETTINGS_PRINT(comms, "UWB Preamble Length: %" PRId32, length);
    uwb_set_preamble((enum uwb_preamble_length)length);
}

/**
 * Retrieve the UWB PAC size, set it, and display what it is
 */
static void load_pac_size(const struct comms *comms) {
    int32_t pac = retrieveSetting(BELUGA_UWB_PAC);
    CUSTOM_INIT_MSG(comms, pac = print_pac_size, pac);
    set_pac_size((enum uwb_pac)pac);
}

/**
 * Retrieve the SFD mode, set it, and display what it is
 */
static void load_sfd_mode(const struct comms *comms) {
    int32_t mode = retrieveSetting(BELUGA_UWB_NSSFD);
    SETTINGS_PRINT(comms, "UWB Nonstandard SFD Length: %" PRId32, mode);
    set_sfd_mode((enum uwb_sfd)mode);
}

/**
 * Retrieve the UWB PAN ID, set it, and display what it is
 */
static void load_pan_id(const struct comms *comms) {
    int32_t pan_id = retrieveSetting(BELUGA_PAN_ID);
    CUSTOM_INIT_MSG(comms, print_pan_id, pan_id);
    set_uwb_pan_id((uint16_t)pan_id);
}

/**
 * Retrieve the power amplifier state, set it, and display what it is
 */
UNUSED static void load_power_amplifiers(const struct comms *comms) {
    int ret;
    int32_t pwramp = retrieveSetting(BELUGA_RANGE_EXTEND);

    ret = update_power_mode((enum power_mode)pwramp);

    if (pwramp == 0 || ret != 0) {
        update_led_state(LED_PWRAMP, LED_OFF);
    } else {
        update_led_state(LED_PWRAMP, LED_ON);
    }

    SETTINGS_PRINT(comms, "Range Extension: %d", pwramp);
}

/**
 * Load the format without printing the format value
 * @param[in] comms Pointer to the comms instance
 */
static void load_format_no_msg(const struct comms *comms) {
    int32_t format = retrieveSetting(BELUGA_OUT_FORMAT);
    set_format(comms, (enum comms_out_format_mode)format);
}

#if IS_ENABLED(CONFIG_BELUGA_EVICT_RUNTIME_SELECT)
/**
 * Loads the eviction scheme setting and prints what eviction policy is
 * in use.
 * @param[in] comms Pointer to the comms instance
 */
UNUSED static void load_eviction_scheme(const struct comms *comms) {
    int32_t scheme = retrieveSetting(BELUGA_EVICTION_SCHEME);

    set_node_eviction_policy(scheme);
    CUSTOM_INIT_MSG(comms, print_eviction_scheme);
}
#else
/**
 * Loads the eviction scheme setting and prints what eviction policy is
 * in use.
 * @param[in] comms Pointer to the comms instance
 */
#define load_eviction_scheme(...) (void)0
#endif

/**
 * Load the verbosity setting
 * @param[in] comms Pointer to the comms object
 */
static void load_verbose(const struct comms *comms) {
    int32_t verbose = retrieveSetting(BELUGA_VERBOSE);
    set_verbosity(comms, verbose == 1);
}

/**
 * Load the antenna calibrations. No need to print the calibration values.
 */
static void load_antenna_calibrations(void) {
    int32_t calibration = retrieveSetting(BELUGA_RX_ANT_DELAY_16);
    set_initiator_antenna_rx_delay(UWB_PR_16M, calibration);
    set_responder_antenna_rx_delay(UWB_PR_16M, calibration);

    calibration = retrieveSetting(BELUGA_RX_ANT_DELAY_64);
    set_initiator_antenna_rx_delay(UWB_PR_64M, calibration);
    set_responder_antenna_rx_delay(UWB_PR_64M, calibration);

    calibration = retrieveSetting(BELUGA_TX_ANT_DELAY_16);
    set_initiator_antenna_tx_delay(UWB_PR_16M, calibration);
    set_responder_antenna_tx_delay(UWB_PR_16M, calibration);

    calibration = retrieveSetting(BELUGA_TX_ANT_DELAY_64);
    set_initiator_antenna_tx_delay(UWB_PR_64M, calibration);
    set_responder_antenna_tx_delay(UWB_PR_64M, calibration);
}

/**
 * Load all the settings, initialize all the states, and display what the
 * settings are
 */
static void load_settings(const struct comms *comms) {
    load_format_no_msg(comms);

    SETTINGS_HEADER(comms);
    SETTINGS_PRINT(comms, "Flash Configuration:");

    load_led_mode(comms);
    load_id(comms);
    load_bootmode(comms);

    // Disable UWB LED since setters check LED if UWB is active or not
    enum led_state uwb_state = get_uwb_led_state();
    update_led_state(LED_UWB, LED_OFF);

    // Load UWB settings since ranging task has not started yet
    load_poll_rate(comms);
    load_channel(comms);
    load_phr_mode(comms);
    load_data_rate(comms);
    load_pulse_rate(comms);
    load_preamble_length(comms);
    load_pac_size(comms);
    load_sfd_mode(comms);
    load_pan_id(comms);
    load_antenna_calibrations();

    // Restore UWB state in the LEDs
    update_led_state(LED_UWB, uwb_state);

    load_timeout(comms);
    load_tx_power(comms);
    load_stream_mode(comms);
    load_twr_mode(comms);
    load_out_format(comms);
    if (IS_ENABLED(CONFIG_BELUGA_RANGE_EXTENSION)) {
        load_power_amplifiers(comms);
    }
    load_eviction_scheme(comms);
    load_verbose(comms);

    SETTINGS_BREAK(comms);
}

/**
 * Updates the UWB transmit power and saves the setting to flash.
 * @param[in] power The new TX power
 */
static void update_uwb_tx_power(uint32_t power) {
    struct uwb_tx_power_config config;
    config.mode = UWB_TX_PWR_CONFIG_RAW;
    config.raw_power = power;
    (void)set_tx_power(&config);
    updateSetting(BELUGA_TX_POWER, (int32_t)power);
}

/**
 * Updates the UWB preamble and saves the setting to flash.
 * @param[in] preamble The new preamble
 */
static void update_uwb_preamble(uint16_t preamble) {
    uwb_set_preamble(preamble);
    updateSetting(BELUGA_UWB_PREAMBLE, preamble);
}

/**
 * Updates the UWB channel and saves the setting to flash.
 * @param[in] channel The new channel.
 */
static void update_uwb_channel(uint8_t channel) {
    set_uwb_channel(channel);
    updateSetting(BELUGA_UWB_CHANNEL, channel);
}

/**
 * Updates the UWB ranging protocol and saves the setting to flash.
 * @param[in] twr The new ranging protocol
 */
static void update_uwb_twr(bool twr) {
    set_twr_mode(twr);
    updateSetting(BELUGA_TWR, twr);
}

/**
 * Updates the UWB PHR and saves the setting to flash.
 * @param[in] phr The new PHR
 */
static void update_uwb_phr(bool phr) {
    uwb_set_phr_mode(phr);
    updateSetting(BELUGA_UWB_PHR, phr);
}

/**
 * Updates the UWB SFD and saves the settings to flash.
 * @param[in] sfd THe new SFD
 */
static void update_uwb_sfd(bool sfd) {
    set_sfd_mode(sfd);
    updateSetting(BELUGA_UWB_NSSFD, sfd);
}

/**
 * Updates the UWB data rate and saves the setting to flash
 * @param[in] rate The new data rate
 */
static void update_uwb_data_rate(uint8_t rate) {
    uwb_set_datarate(rate);
    updateSetting(BELUGA_UWB_DATA_RATE, rate);
}

/**
 * Updates the UWB PAC and saves the setting to flash
 * @param[in] pac The new PAC
 */
static void update_uwb_pac(uint8_t pac) {
    set_pac_size(pac);
    updateSetting(BELUGA_UWB_PAC, pac);
}

/**
 * Updates the UWB pulse rate and saves the setting to flash
 * @param[in] pulse_rate The new pulse rate
 */
static void update_uwb_pulse_rate(bool pulse_rate) {
    uwb_set_pulse_rate(pulse_rate);
    updateSetting(BELUGA_UWB_PULSE_RATE, pulse_rate);
}

/**
 * Updates the external power amp mode and saves the setting to flash.
 * @param[in] pwramp The new power amp mode
 */
static void update_power_mode_(uint8_t pwramp) {
    update_power_mode(pwramp);
    updateSetting(BELUGA_RANGE_EXTEND, pwramp);
}

static void finalize_serial_setup(const struct comms *comms) {
    int32_t block = retrieveSetting(BELUGA_WAIT_USB_HOST);
    set_wait_usb_host(comms, block != 0);

    if (block != 0) {
        wait_comms_ready(comms);
    }
}

/**
 * @brief Main entry point of the application
 * @return 1 on error
 */
int main(void) {
    const struct comms *comms = comms_backend_uart_get_ptr();
    RESET_CAUSE();

    memset(seen_list, 0, sizeof(seen_list));

    INIT_CLOCKS();

    if (init_voltage_regulator() != 0) {
        LOG_ERR("Failed to initialize voltage regulator");
        return 1;
    }

    if (init_bt_stack() != 0) {
        LOG_ERR("Failed to init bluetooth stack");
        return 1;
    }

    if (initBelugaSettings() != 0) {
        LOG_ERR("Unable to init flash");
        return 1;
    }

    if (init_spi1() < 0) {
        LOG_ERR("Failed to initialize SPI 1");
        return 1;
    }

    if (init_range_extension() != 0) {
        LOG_ERR("Failed to initialize range extension");
        return 1;
    }

    LED_INIT();

    if (configure_watchdog_timer() < 0) {
        LOG_ERR("Failed to configure watchdog timer");
        return 1;
    }

    LOG_INF("Module initialization done. Waiting for DTR to be asserted");
    finalize_serial_setup(comms);

    init_uwb();

    load_settings(comms);

    init_responder_thread();
    init_print_list_task();
    init_ranging_thread();
    init_monitor_thread();

    for (;;) {
        enum led_state uwb_led_state;
        k_poll(&sync_configs.ready, 1, K_FOREVER);
        wait_ble_disconnect(K_FOREVER);
        uwb_led_state = get_uwb_led_state();
        if (uwb_led_state == LED_ON) {
            update_uwb_state(false);
        }

        update_uwb_tx_power(sync_configs.config.TX_POWER);
        update_uwb_preamble(sync_configs.config.PREAMBLE);
        update_uwb_channel(sync_configs.config.CHANNEL);
        update_uwb_twr(sync_configs.config.TWR);
        update_uwb_phr(sync_configs.config.PHR);
        update_uwb_sfd(sync_configs.config.SFD);
        update_uwb_data_rate(sync_configs.config.DATA_RATE);
        update_uwb_pac(sync_configs.config.PAC);
        update_uwb_pulse_rate(sync_configs.config.PULSE_RATE);
        update_power_mode_(sync_configs.config.POWER_AMP);

        if (uwb_led_state == LED_ON) {
            update_uwb_state(true);
        }
        k_poll_signal_reset(&sync_configs.ready_sig);
    }

    return 1;
}
```

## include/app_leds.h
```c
/**
 * @file app_leds.c
 * @version 1.0
 * @date 7/10/24
 *
 * @brief This file provides the implementation of functions to control and
 * manage LEDs in the application. It includes functions to update the state of
 * individual LEDs, turn off all LEDs, restore previous LED states, and query
 * the status of specific LEDs. The LEDs are controlled based on various
 * operational states such as BLE, UWB, Power, and Amplifier.
 *
 * @author Tom Schmitz
 */

#ifndef BELUGA_APP_LEDS_H
#define BELUGA_APP_LEDS_H

#include <stdbool.h>

/**
 * Enum representing the different LEDs
 */
enum led {
    LED_BLE,   ///< LED for indicating the BLE state
    LED_UWB,   ///< LED for indicating the UWB state
    LED_POWER, ///< LED for indicating the power state
    LED_PWRAMP ///< LED for indicating the power amplifier state
};

/**
 * @enum led_state
 *
 * @brief Enum representing the possible states for various LEDs in the system.
 *
 * This enum defines the on/off states for the LEDs corresponding to different
 * components such as BLE, UWB, Power, and the power amplifier. It is used to
 * track and update the state of the LEDs.
 */
enum led_state {
    LED_ON,  ///< LED is turned on
    LED_OFF, ///< LED is turned off
};

/**
 * @brief Updates the state of the specified LED based on the given LED state.
 *
 * @param[in] led The led whose state is being updated
 * @param[in] update The new state to apply to the LED.
 *
 * @note If the master LED state is off, then this will not update the hardware
 * state of the LED; However, it will save the software state. The software
 * state is only reflected by the hardware when the master LED state is on.
 */
void update_led_state(enum led led, enum led_state update);

/**
 * @brief Turns off all LEDs and disables LED control.
 */
void all_leds_off(void);

/**
 * @brief Restores previously set LED states and re-enables LED control.
 */
void restore_led_states(void);

/**
 * @brief Returns the current state of the BLE LED.
 *
 * @return The current state of the BLE LED (LED_BLE_ON or LED_BLE_OFF).
 *
 * @note If the LED master state is off, this will still return the current
 * state of the BLE LED as if the LED master state is on
 */
enum led_state get_ble_led_state(void);

/**
 * @brief Returns the current state of the UWB LED.
 *
 * @return The current state of the UWB LED (LED_UWB_ON or LED_UWB_OFF).
 *
 * @note If the LED master state is off, this will still return the current
 * state of the UWB LED as if the LED master state is on
 */
enum led_state get_uwb_led_state(void);

/**
 * @brief Returns the current state of the Power LED.
 *
 * @return The current state of the Power LED (LED_POWER_ON or LED_POWER_OFF).
 *
 * @note If the LED master state is off, this will still return the current
 * state of the Power LED as if the LED master state is on
 */
enum led_state get_power_led_state(void);

/**
 * @brief Returns the current state of the unused PWRAMP LED.
 *
 * @return The current state of the PWRAMP LED (LED_PWRAMP_ON or
 * LED_PWRAMP_OFF).
 *
 * @note If the LED master state is off, this will still return the current
 * state of the Amplifier LED as if the LED master state is on
 */
enum led_state get_pwramp_led_state(void);

/**
 * @brief Checks if any LEDs are currently on.
 *
 * @return true if LED master state is on
 * @return false if the LED master state is off
 */
bool are_leds_on(void);

#endif // BELUGA_APP_LEDS_H
```

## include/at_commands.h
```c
/** @file   at_commands.h
 *
 *  @brief  Beluga AT commands
 *
 * This defines all the AT commands available on Beluga. It not only defines
 * the AT commands, but also parses the arguments, provides argument checking
 * helpers, and runs the commands thread.
 *
 *  @date   6/1/2024
 *
 *  @author Tom Schmitz
 */

#ifndef AT_COMMANDS_H
#define AT_COMMANDS_H

#include <zephyr/kernel.h>

#include <stdint.h>
#include <unistd.h>

/**
 * Buffer structure for passing serial messages from the UART to the commands
 * task through a FIFO
 */
struct buffer {
    void *fifo_reserved; ///< Reserved for Zephyr FIFO use
    uint8_t *buf;        ///< The data received from the UART
    size_t len;          ///< The length of the data
};

#endif
```

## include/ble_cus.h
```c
/*! ----------------------------------------------------------------------------
 *  @file   ble_cus.h
 *
 *  @brief  Nordic BLE custom service codes --Header file
 *
 *  @date   2020/08
 *
 *  @author WiseLab-CMU
 *
 *  NOTE: Part of the codes are reference from
 * https://github.com/bjornspockeli/custom_ble_service_example
 */

#ifndef BLE_CUS_H
#define BLE_CUS_H

#include "ble_gatts.h"
#include "ble_srv_common.h"
#include "stdint.h"

#define CUSTOM_SERVICE_UUID_BASE                                               \
    {                                                                          \
        0xe7, 0x29, 0x13, 0xc2, 0xa1, 0xba, 0x11, 0x9c, 0x1f, 0x4c, 0x46,      \
            0xc9, 0xd9, 0x21, 0x0c, 0x68                                       \
    }
#define CUSTOM_DT_UUID_BASE                                                    \
    {                                                                          \
        0x37, 0x9a, 0xb8, 0x89, 0xc8, 0x7e, 0x56, 0xab, 0x3d, 0x4b, 0x34,      \
            0xc6, 0xf2, 0xbd, 0x3b, 0x00                                       \
    }
#define CUSTOM_SERVICE_UUID 0x21d9
#define CUSTOM_DT_UUID      0xbdf2

#define BLE_CUS_DEF(_name)  static ble_cus_t _name;

/**@brief Custom Service init structure. This contains all options and data
 * needed for initialization of the service.*/
typedef struct {
    uint8_t initial_custom_value; /**< Initial custom value */
    ble_srv_cccd_security_mode_t
        custom_value_char_attr_md; /**< Initial security level for Custom
                                      characteristics attribute */
} ble_cus_init_t;

/**@brief Custom Service structure. This contains various status information for
 * the service. */
struct ble_cus_s {
    uint8_t uuid_type;       /**< UUID type for Nordic service Base UUID. */
    uint8_t uuid_type_char;  /**< UUID type for Nordic specific characteristic
                                UUID. */
    uint16_t service_handle; /**< Handle of Custom Service (as provided by the
                                BLE stack). */
    ble_gatts_char_handles_t
        dt_handles; /**< Handles related to the RX characteristic (as provided
                       by the SoftDevice). */
    uint16_t conn_handle; /**< Handle of the current connection (as provided by
                             the BLE stack, is BLE_CONN_HANDLE_INVALID if not in
                             a connection). */
};

// Forward declaration of the ble_cus_t type.
typedef struct ble_cus_s ble_cus_t;

/**@brief Function for initializing the Custom Service.
 *
 * @param[out]  p_cus       Custom Service structure. This structure will have
 * to be supplied by the application. It will be initialized by this function,
 * and will later be used to identify this particular service instance.
 * @param[in]   p_cus_init  Information needed to initialize the service.
 *
 * @return      NRF_SUCCESS on successful initialization of service, otherwise
 * an error code.
 */
uint32_t ble_cus_init(ble_cus_t *p_cus, const ble_cus_init_t *p_cus_init);

#endif
```

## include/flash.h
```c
/*! ----------------------------------------------------------------------------
 *  @file   flash.h
 *
 *  @brief  An implementation of modify and retrive data through flash data
 * storage --Header file
 *
 *  @date   2020/06
 *
 *  @author WiseLab-CMU
 */

#ifndef _FLASH_H_
#define _FLASH_H_

#include <stdint.h>

#define CONFIG_ID   1 /* Idenfication for ID configuration */
#define CONFIG_BM   2 /* Idenfication for Boot mode configuration */
#define CONFIG_RATE 3 /* Idenfication for polling rate configuration */
#define CONFIG_CHAN 4 /* Idenfication for UWB channel configuration */
#define CONFIG_TIME 5 /* Idenfication for BLE timeout configuration */
#define CONFIG_TXP  6 /* Idenfication for UWB TX power configuration */
#define CONFIG_SM   7 /* Idenfication for streammode configuration */
#define CONFIG_TWR                                                             \
    8 /* Idenfication for two way raning scheme mode configuration */
#define CONFIG_LED 9 /* Idenfication for LED mode configuration */

int32_t initFlash(void);
void writeFlashID(uint32_t id, int32_t record);
int32_t readFlashID(uint32_t id);
void eraseRecords(void);

#endif
```
